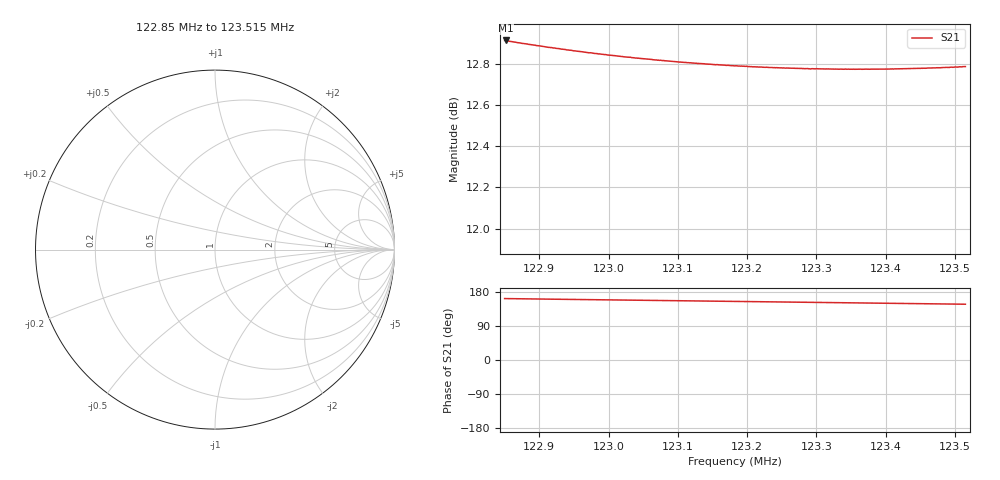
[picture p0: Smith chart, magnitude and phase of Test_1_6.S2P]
!Agilent Technologies,E5071C,MY46417555,A.11.31
!Date: Tue Nov 14 13:36:34 2017
!Data & Calibration Information:
!Freq	S11:NONE(--)	S21:NONE(--)	S12:NONE(--)	S22:NONE(--)
!PortZ  Port1:50+j0  Port2:50+j0
!Above PortZ is port z conversion or system Z0 setting when saving the data.
!When reading, reference impedance value at option line is always used.
# Hz S dB R 50
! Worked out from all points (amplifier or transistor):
!   513 points, 122.85 MHz to 123.515 MHz, reference 50 ohm
!   highest |S21| = 12.9 dB at 122.851 MHz (marker M1)
!   |S21| within 3 dB of that: start of sweep to end of sweep
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1.2285e8  -200.00 0.0  12.91 162.1  -200.00 0.0  -200.00 0.0
1.228513e8  -200.00 0.0  12.91 162.1  -200.00 0.0  -200.00 0.0
1.228526e8  -200.00 0.0  12.91 162.0  -200.00 0.0  -200.00 0.0
1.228578e8  -200.00 0.0  12.91 161.9  -200.00 0.0  -200.00 0.0
1.228916e8  -200.00 0.0  12.89 161.1  -200.00 0.0  -200.00 0.0
1.229071e8  -200.00 0.0  12.88 160.8  -200.00 0.0  -200.00 0.0
1.229279e8  -200.00 0.0  12.87 160.3  -200.00 0.0  -200.00 0.0
1.229617e8  -200.00 0.0  12.86 159.5  -200.00 0.0  -200.00 0.0
1.230098e8  -200.00 0.0  12.84 158.4  -200.00 0.0  -200.00 0.0
1.230721e8  -200.00 0.0  12.82 157.0  -200.00 0.0  -200.00 0.0
1.231357e8  -200.00 0.0  12.80 155.6  -200.00 0.0  -200.00 0.0
1.231825e8  -200.00 0.0  12.79 154.5  -200.00 0.0  -200.00 0.0
1.232358e8  -200.00 0.0  12.78 153.3  -200.00 0.0  -200.00 0.0
1.232942e8  -200.00 0.0  12.78 152.0  -200.00 0.0  -200.00 0.0
1.23302e8  -200.00 0.0  12.78 151.9  -200.00 0.0  -200.00 0.0
1.233085e8  -200.00 0.0  12.78 151.7  -200.00 0.0  -200.00 0.0
1.233604e8  -200.00 0.0  12.77 150.6  -200.00 0.0  -200.00 0.0
1.234046e8  -200.00 0.0  12.78 149.6  -200.00 0.0  -200.00 0.0
1.234397e8  -200.00 0.0  12.78 148.8  -200.00 0.0  -200.00 0.0
1.235046e8  -200.00 0.0  12.79 147.4  -200.00 0.0  -200.00 0.0
1.235124e8  -200.00 0.0  12.79 147.2  -200.00 0.0  -200.00 0.0
1.23515e8  -200.00 0.0  12.79 147.2  -200.00 0.0  -200.00 0.0
